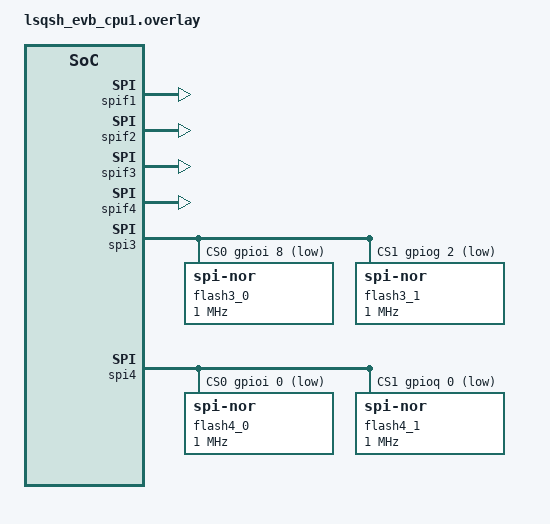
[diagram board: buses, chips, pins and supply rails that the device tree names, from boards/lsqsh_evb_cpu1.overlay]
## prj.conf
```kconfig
CONFIG_SPI_FILTER_LINKEDSEMI=y
CONFIG_SPI=y
CONFIG_FLASH=y
# CONFIG_LOG_MODE_IMMEDIATE=y
CONFIG_SHELL=n
CONFIG_FLASH_SHELL=n
CONFIG_DMA=y

CONFIG_LOG=y
CONFIG_LOG_BUFFER_SIZE=65536
CONFIG_SHELL_BACKEND_SERIAL_LOG_MESSAGE_QUEUE_SIZE=40960
# CONFIG_LOG=n
# CONFIG_LOG_BUFFER_SIZE=1024
# CONFIG_SHELL_BACKEND_SERIAL_LOG_MESSAGE_QUEUE_SIZE=1024

CONFIG_FLASH_JESD216_API=y
CONFIG_SPI_EXTENDED_MODES=y

CONFIG_MAIN_STACK_SIZE=10240
CONFIG_IDLE_STACK_SIZE=512
CONFIG_TEST_EXTRA_STACK_SIZE=1536
CONFIG_SYSTEM_WORKQUEUE_STACK_SIZE=8192
CONFIG_ISR_STACK_SIZE=4096
CONFIG_PRIVILEGED_STACK_SIZE=4096
CONFIG_SHELL_STACK_SIZE=4096
CONFIG_LOG_PROCESS_THREAD_STACK_SIZE=4096

CONFIG_SPI_FILTER_INTERRUPT_LOG=n
CONFIG_SPI_FILTER_DMA_LOG=y
```

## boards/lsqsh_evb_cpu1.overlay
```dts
#include "lsqsh_pinctrl_pfr_tpm.dtsi"

/ {
    aliases {
#if 1
        spifilter = &spif3;
        spifiltermaster = &spif1;
        spiflash = &flash3_0;
#endif
#if 0
        spifilter = &spif2;
        spifiltermaster = &spif4;
        spiflash = &flash4_1;
#endif
    };
};

&spif1 {
    status = "okay";
};

&spif2 {
    status = "okay";
};

&spif3 {
    cmd-page-program-quad-addr-quad-data =<0x32>;
    cmd-quad-spi-mode-enter = <0x38>;
    cmd-quad-spi-mode-exit = <0xff>;
    status = "okay";
};

&spif4 {
    status = "okay";
};

&spi3 {
    cs-gpios = <&gpioi 8 GPIO_ACTIVE_LOW>,
                <&gpiog 2 GPIO_ACTIVE_LOW>;
    pinctrl-0 = <>;
    pinctrl-names = "default";
    //timing-calibration-disabled;
    dmas =<&dmac2 6 DMA_SPI3_RX>,<&dmac2 6 DMA_SPI3_TX>;
    dma-names ="rx","tx";
    status = "okay";

    flash3_0: flash3@0 {
        compatible = "jedec,spi-nor";
        reg = <0>;
        spi-max-frequency = <DT_FREQ_M(1)>;
        spi-max-buswidth = <4>;
        re-init-support;
    };
    flash3_1: flash3@1 {
        compatible = "jedec,spi-nor";
        reg = <1>;
        spi-max-frequency = <DT_FREQ_M(1)>;
        spi-max-buswidth = <4>;
        re-init-support;
    };
};

&spi4 {
    cs-gpios = <&gpioi 0 GPIO_ACTIVE_LOW>,
                <&gpioq 0 GPIO_ACTIVE_LOW>;
    pinctrl-0 = <>;
    pinctrl-names = "default";
    dmas =<&dmac2 7 DMA_SPI4_RX>,<&dmac2 7 DMA_SPI4_TX>;
    dma-names ="rx","tx";
    status = "okay";

    flash4_0: flash4@0 {
        compatible = "jedec,spi-nor";
        reg = <0>;
        spi-max-frequency = <DT_FREQ_M(1)>;
        spi-max-buswidth = <4>;
        re-init-support;
    };
    flash4_1: flash4@1 {
        compatible = "jedec,spi-nor";
        reg = <1>;
        spi-max-frequency = <DT_FREQ_M(1)>;
        spi-max-buswidth = <4>;
        re-init-support;
    };
};

&dmac1 {
    status = "okay";
};

&dmac2 {
    status = "okay";
};

#if 0
#undef SRAM_TOTAL_SIZE
#undef SRAM_RO_SIZE
#undef SRAM_RW_SIZE

#define SRAM_TOTAL_SIZE DT_SIZE_K(512 - 128)
#define SRAM_RO_SIZE    DT_SIZE_K(256 - 128)
#define SRAM_RW_SIZE    (SRAM_TOTAL_SIZE - SRAM_RO_SIZE)

&sram1_ro {
    reg = <0x10020000 SRAM_RO_SIZE>;
};

&sram1 {
    reg = <(0x10020000 + SRAM_RO_SIZE) SRAM_RW_SIZE>;
};
#endif
```

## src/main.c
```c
/*
 * Copyright (c) 2024 Linkedsemi
 *
 * SPDX-License-Identifier: Apache-2.0
 */

#include <stdint.h>
#if !defined(CONFIG_SPI_FILTER_LINKEDSEMI)
    #error no CONFIG_SPI_FILTER_LINKEDSEMI define
#endif

#include <zephyr/drivers/spi.h>
#include <zephyr/drivers/spi_nor.h>
#include <zephyr/kernel.h>
#include <stdlib.h>
#include <stdio.h>
#include <zephyr/kernel.h>
#include <zephyr/drivers/spi.h>
#include <zephyr/drivers/flash.h>
#include <reg_spi_filter.h>
#include <spi_filter.h>
#include <ls_soc_gpio.h>
#include <zephyr/logging/log.h>

LOG_MODULE_REGISTER(spi_monitor_01_003_001, LOG_LEVEL_INF);
#if 0
#include "/home/htliu/zephyr_work/modules/lib/pfr_tpm/drivers/pfr/spi/spi_filter.h"
#else
#define SPIF_LOG_RAM_MAX_SIZE_U32     1024
#endif

#define  Quad_In_Page_Program 0xc2
int main(void)
{	const struct device *const spifilter = DEVICE_DT_GET(DT_ALIAS(spifilter));
	bool check;

	static const uint8_t legal_cmds[] = {
	SPI_NOR_CMD_RESET_EN,SPI_NOR_CMD_RESET_MEM,SPI_NOR_CMD_NOP,
	CMD_ERASE_4KB,CMD_ERASE_32KB,CMD_ERASE_64KB,SPI_NOR_CMD_CE,
	SPI_NOR_CMD_BULKE,SPI_NOR_CMD_WREN,SPI_NOR_CMD_WRDI,
	CMD_4BYTE_ERASE_4KB,CMD_4BYTE_ERASE_32KB,CMD_4BYTE_ERASE_64KB,
	CMD_4BYTE_MODE_ENTER,CMD_4BYTE_MODE_EXIT,SPI_NOR_CMD_WRSR,SPI_NOR_CMD_WRSR2,SPI_NOR_CMD_WRSR3,
	CMD_4BYTE_READ_EXTENDED_ADDRESS,CMD_4BYTE_WRITE_EXTENDED_ADDRESS,
	SPI_NOR_CMD_RDID,SPI_NOR_CMD_RDSFDP,SPI_NOR_CMD_RDSR,SPI_NOR_CMD_RDSR2,SPI_NOR_CMD_RDSR3,
	CMD_READ,CMD_FAST_READ,SPI_NOR_CMD_DREAD,CMD_READ_QUAD_DATA,CMD_READ_QUAD_ADDR_QUAD_DATA,
	CMD_PAGE_PROGRAM,SPI_NOR_CMD_PP_1_1_4,Quad_In_Page_Program,
	CMD_QUAD_SPI_MODE_EXIT,CMD_4BYTE_PAGE_PROGRAM,SPI_NOR_CMD_PP_1_1_4_4B,
	CMD_4BYTE_READ,CMD_4BYTE_FAST_READ,SPI_NOR_CMD_DREAD_4B,CMD_4BYTE_READ_QUAD_DATA,
	};

	linkedsemi_spi_filter_cold_reset(spifilter);
	spif_dump_cmd_table(spifilter);
	spif_dump_rw_addr_privilege_table(spifilter);
	spif_memset_addr_whitelist(spifilter, 1);

	uint32_t cmd_num = 0;
	uint8_t cmd_table[SPIF_CMD_TABLE_NUM]={0};
	spif_get_cmd_table(spifilter, cmd_table, &cmd_num);
	LOG_INF("find %u num cmd:", cmd_num);
	for (int i = 0; i < SPIF_CMD_TABLE_NUM; i++) {
		if (cmd_table[i] != 0 && cmd_num>0) {
			spif_remove_cmd(spifilter, cmd_table[i]);
			LOG_INF("  pos %d: cmd 0x%02x", i, cmd_table[i]);
			cmd_num--;
		}
	}

	spif_dma_start(spifilter);
	spif_filter_enable(spifilter, true);
	check = spif_pinctrl_filter_mode_check(spifilter);
	__ASSERT_NO_MSG(check);

	spif_passthrough_analog_mux_enable(spifilter, true);
	check = spif_pinctrl_passthrough_mode_check(spifilter);
	__ASSERT_NO_MSG(check);

	do {
		const struct device *const spifiltermaster = DEVICE_DT_GET(DT_ALIAS(spifiltermaster));
		spif_switch_to_master(spifiltermaster);
		check = spif_pinctrl_master_mode_check(spifiltermaster);
		__ASSERT_NO_MSG(check);
	} while (0);

	LOG_INF("--- Monitor Mode Test Start ----");

	uint32_t cmd_cnt = ARRAY_SIZE(legal_cmds);
	LOG_INF("Legal CMD count = %d", cmd_cnt);

	const struct device *const spifiltermaster = DEVICE_DT_GET(DT_ALIAS(spifiltermaster));

	const struct device *spi_dev = spif_spi_dev(spifiltermaster);
	uint32_t freq = DT_PROP(DT_ALIAS(spiflash), spi_max_frequency);

	const struct spi_config spi_cfg = {
		.operation = SPI_OP_MODE_MASTER | SPI_WORD_SET(8) | SPI_TRANSFER_MSB,
		.frequency = freq,
		.cs = { .gpio = *(spif_spi_cs(spifiltermaster)), },
	};

	for (uint32_t i = 0; i < cmd_cnt; i++) {

		uint8_t tx = legal_cmds[i];
		uint8_t rx[4] = {0};

		struct spi_buf tx_buf = {
			.buf = &tx,
			.len = 1,
		};
		struct spi_buf rx_buf = {
			.buf = &rx,
			.len = sizeof(rx),
		};
		const struct spi_buf_set tx_set = { &tx_buf, 1 };
		const struct spi_buf_set rx_set = { &rx_buf, 1 };

		LOG_INF("Send CMD = 0x%02X ...", tx);

		int ret = spi_transceive(spi_dev, &spi_cfg, &tx_set, &rx_set);
		if (ret < 0) {
			LOG_ERR("CMD 0x%02X send failed: %d", tx, ret);
		} else {
			LOG_INF("CMD 0x%02X OK, RX = ", tx);
			for (int j = 0; j < sizeof(rx); j++) {
				printk("0x%02X ", rx[j]);
			}
			printk("\n");
		}

		k_msleep(10);
	}

	LOG_INF("---- Monitor Mode Test Done ----");


	return 0;
}
```
